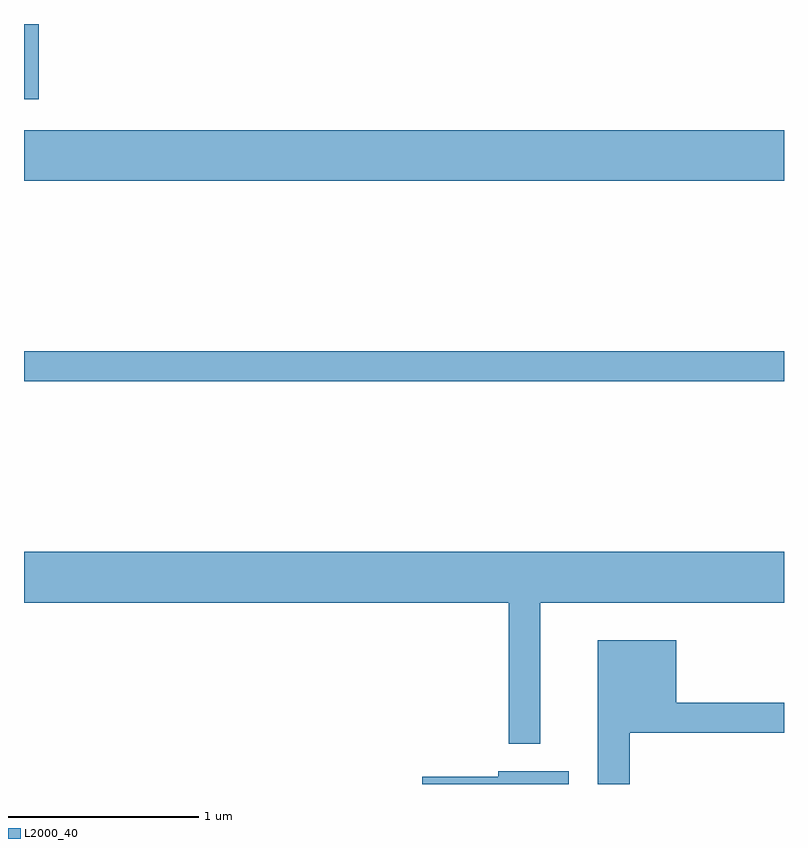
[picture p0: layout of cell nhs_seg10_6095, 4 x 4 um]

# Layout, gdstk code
import gdstk
lib = gdstk.Library(unit=1e-6, precision=1e-09)
def R(c, l, rs):  # rectangles x0, y0, x1, y1
    for r in rs: c.add(gdstk.rectangle(r[:2], r[2:], *l))
def P(c, l, *ps):  # polygons
    for p in ps: c.add(gdstk.Polygon(p, *l))
L2000_40 = (2000, 40)

nhs_seg10_6095 = lib.new_cell('nhs_seg10_6095')
R(nhs_seg10_6095, L2000_40, [(365.611,2110.641,369.611,2110.799), (365.611,2111.696,369.611,2111.964), (365.611,2112.126,365.689,2112.522)])
P(nhs_seg10_6095, L2000_40, [(368.329,2109.476),(369.611,2109.476),(369.611,2109.744),(365.611,2109.744),(365.611,2109.476),(368.161,2109.476),(368.161,2108.733),(368.329,2108.733)],
  [(368.799,2108.791),(369.611,2108.791),(369.611,2108.949),(369.044,2108.949),(369.044,2109.279),(368.631,2109.279),(368.631,2108.522),(368.799,2108.522)],
  [(368.479,2108.589),(368.106,2108.589),(368.106,2108.559),(367.706,2108.559),(367.706,2108.522),(368.479,2108.522)])

lib.write_gds('nhs_seg10_6095.gds')
